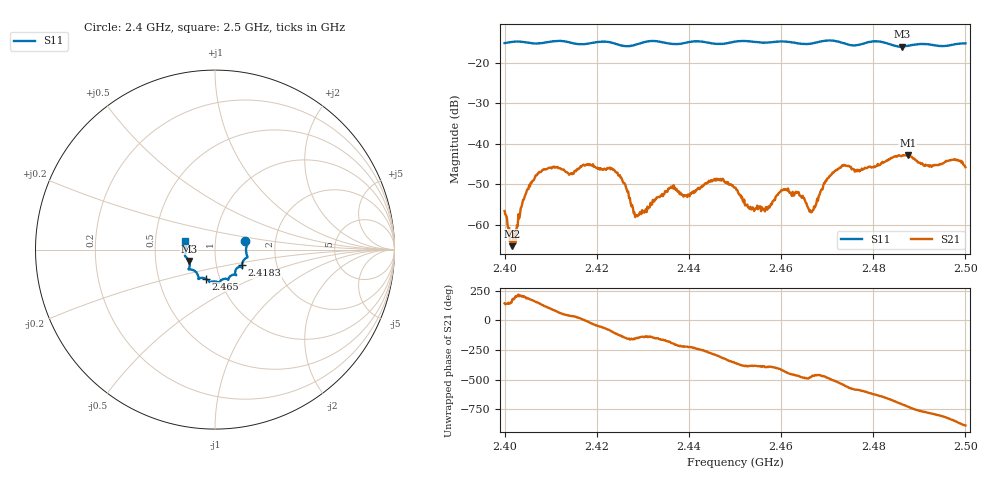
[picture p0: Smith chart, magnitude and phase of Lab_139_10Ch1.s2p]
# Hz S RI R 50
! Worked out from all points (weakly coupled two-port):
!   601 points, 2.4 GHz to 2.5 GHz, reference 50 ohm
!   highest |S21| = -42.82 dB at 2.4875 GHz (marker M1); lowest = -65.3 dB at 2.4017 GHz (marker M2)
!   lowest |S11| = -16.0 dB at 2.4862 GHz (marker M3), VSWR 1.37, Z = 37.1 - j4.83 ohm
!   |S11| at or under -10 dB: start of sweep to end of sweep
!   S12 and S22 are empty: the file has one direction only
!   S11 on the Smith chart (normalised r, x): 2.4 GHz: 1.40, +0.13; 2.4183 GHz: 1.33, -0.24; 2.465 GHz: 0.86, -0.29; 2.5 GHz: 0.71, +0.07
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2.4e9  0.1689 0.0459  -0.00118 0.000865  0 0  0 0
2.401667e9  0.1773 0.0376  -0.000539 3.61e-05  0 0  0 0
2.4045e9  0.1775 0.0232  -0.00225 -0.000638  0 0  0 0
2.407167e9  0.173 -0.00541  -0.00371 0.00206  0 0  0 0
2.416667e9  0.1547 -0.0682  0.00505 0.00125  0 0  0 0
2.418333e9  0.1498 -0.0867  0.0052 -0.00149  0 0  0 0
2.4245e9  0.1383 -0.0963  -0.00208 -0.00384  0 0  0 0
2.4285e9  0.1126 -0.1239  -0.00115 -0.000634  0 0  0 0
2.433333e9  0.1167 -0.1412  -0.00193 -0.00104  0 0  0 0
2.446e9  0.053 -0.1626  0.00149 0.00318  0 0  0 0
2.45e9  0.0251 -0.1805  0.00287 -2.29e-06  0 0  0 0
2.453667e9  0.0158 -0.1818  0.00146 -0.000546  0 0  0 0
2.457e9  -0.01 -0.1773  0.00131 -0.000781  0 0  0 0
2.460667e9  -0.0298 -0.1807  0.00102 -0.00255  0 0  0 0
2.465e9  -0.0528 -0.162  -0.00113 -0.0018  0 0  0 0
2.466667e9  -0.0713 -0.1576  -0.000471 -0.00135  0 0  0 0
2.469667e9  -0.0916 -0.1635  -0.00158 -0.0031  0 0  0 0
2.472833e9  -0.0922 -0.154  -0.00503 -0.000719  0 0  0 0
2.483333e9  -0.1419 -0.0957  0.0034 0.00545  0 0  0 0
2.486167e9  -0.1445 -0.0635  0.0068 0.00169  0 0  0 0
2.4875e9  -0.1534 -0.0506  0.00718 -0.000899  0 0  0 0
2.5e9  -0.1669 0.0472  -0.00497 -0.00123  0 0  0 0
